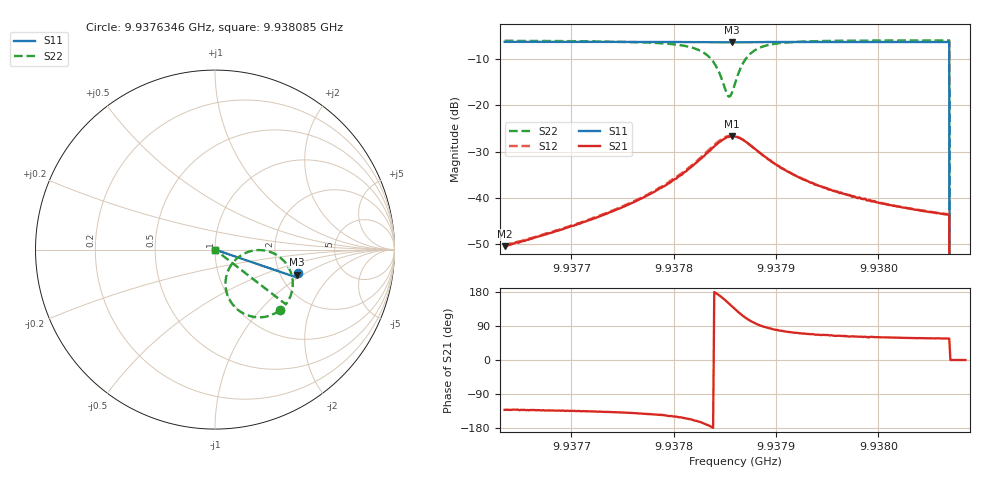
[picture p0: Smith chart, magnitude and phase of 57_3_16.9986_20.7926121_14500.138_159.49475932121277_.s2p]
#  HZ  S  RI  R  50.00
! Rohde & Schwarz Vector Network Analyzer
! Rohde-Schwarz,ZNB20-2Port,1311601062101988,3.16
! Created: UTC 3/20/2024, 10:54:39 PM
! freq[Hz]  re:S11  im:S11  re:S21  im:S21  re:S12  im:S12  re:S22  im:S22
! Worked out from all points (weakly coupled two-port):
!   401 points, 9.9376346 GHz to 9.938085 GHz, reference 50 ohm
!   highest |S21| = -26.72 dB at 9.9378564 GHz (marker M1); lowest = -50.4 dB at 9.9376346 GHz (marker M2)
!   lowest |S11| = -6.5 dB at 9.9378564 GHz (marker M3), VSWR 2.81, Z = 122 - j44.1 ohm
!   |S11| at or under -10 dB: 9.9380693 GHz to end of sweep
!   |S22| runs from - to -6.0 dB; largest |S21 - S12| = 0.0031
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9.93763463e9  0.4645 -0.1279  -0.002 -0.00225  -0.00207 -0.00227  0.3607 -0.3382
9.93771007e9  0.4625 -0.1331  -0.0038 -0.0038  -0.00393 -0.00383  0.3401 -0.352
9.93775286e9  0.4614 -0.1362  -0.00617 -0.00538  -0.00644 -0.00543  0.3165 -0.3635
9.93778551e9  0.4602 -0.1386  -0.0103 -0.0072  -0.0107 -0.00725  0.2803 -0.3742
9.93781366e9  0.4586 -0.1409  -0.0183 -0.00847  -0.019 -0.00833  0.2106 -0.3739
9.93783054e9  0.4569 -0.1419  -0.0285 -0.00577  -0.0297 -0.00527  0.129 -0.3365
9.9378418e9  0.4554 -0.1419  -0.0376 0.00297  -0.0389 0.00471  0.0678 -0.2483
9.93785194e9  0.4544 -0.1405  -0.0405 0.0199  -0.0403 0.0225  0.0785 -0.106
9.93785419e9  0.4544 -0.1401  -0.0388 0.024  -0.0384 0.0268  0.0982 -0.0749
9.93785644e9  0.4545 -0.1398  -0.0367 0.028  -0.0358 0.0307  0.1238 -0.0479
9.93785982e9  0.455 -0.1394  -0.0321 0.0329  -0.0304 0.0352  0.1708 -0.0183
9.93786432e9  0.4558 -0.1389  -0.0245 0.0369  -0.0225 0.0383  0.2376 -0.00278
9.93786883e9  0.4564 -0.139  -0.0168 0.0378  -0.0149 0.0387  0.298 -0.0101
9.93787446e9  0.4572 -0.1393  -0.00917 0.0361  -0.00741 0.0364  0.3543 -0.0372
9.93788121e9  0.4581 -0.14  -0.00263 0.0323  -0.0014 0.0323  0.3956 -0.077
9.93790373e9  0.4585 -0.1427  0.00469 0.021  0.00513 0.0209  0.433 -0.1769
9.93793525e9  0.4579 -0.1457  0.00541 0.0134  0.0058 0.0133  0.427 -0.2394
9.93796453e9  0.4573 -0.1479  0.00496 0.00996  0.00533 0.00986  0.4172 -0.2669
9.93801069e9  0.4559 -0.1512  0.00428 0.0072  0.00445 0.0072  0.4054 -0.2895
9.93806699e9  0.4545 -0.155  0.00362 0.00556  0.00377 0.00553  0.3952 -0.3043
9.93807262e9  0 0  0 0  0 0  0 0
9.938085e9  0 0  0 0  0 0  0 0
